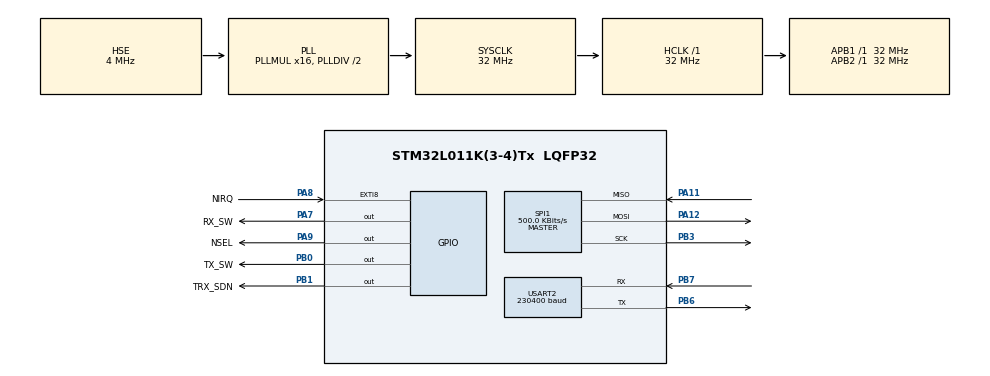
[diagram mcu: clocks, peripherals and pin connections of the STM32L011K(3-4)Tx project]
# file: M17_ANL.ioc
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Mcu.Family=STM32L0
Mcu.Name=STM32L011K(3-4)Tx
Mcu.Package=LQFP32
NVIC.EXTI4_15_IRQn=true\:0\:0\:false\:false\:true\:true
NVIC.TIM2_IRQn=true\:0\:0\:false\:false\:true\:true
NVIC.USART2_IRQn=true\:0\:0\:false\:false\:true\:true
PA0-CK_IN.Mode=HSE-External-Clock-Source-for-TinyNemo
PA0-CK_IN.Signal=RCC_CK_IN
PA11.GPIO_PuPd=GPIO_PULLUP
PA11.Mode=Full_Duplex_Master
PA11.Signal=SPI1_MISO
PA12.GPIO_PuPd=GPIO_PULLUP
PA12.Mode=Full_Duplex_Master
PA12.Signal=SPI1_MOSI
PA7.GPIO_Label=RX_SW
PA7.GPIO_Speed=GPIO_SPEED_FREQ_MEDIUM
PA7.PinState=GPIO_PIN_SET
PA7.Signal=GPIO_Output
PA8.GPIO_Label=NIRQ
PA8.GPIO_ModeDefaultEXTI=GPIO_MODE_IT_FALLING
PA8.GPIO_PuPd=GPIO_PULLUP
PA8.Signal=GPXTI8
PA9.GPIO_Label=NSEL
PA9.GPIO_Speed=GPIO_SPEED_FREQ_MEDIUM
PA9.PinState=GPIO_PIN_SET
PA9.Signal=GPIO_Output
PB0.GPIO_Label=TX_SW
PB0.GPIO_Speed=GPIO_SPEED_FREQ_MEDIUM
PB0.Signal=GPIO_Output
PB1.GPIO_Label=TRX_SDN
PB1.GPIO_Speed=GPIO_SPEED_FREQ_MEDIUM
PB1.PinState=GPIO_PIN_SET
PB1.Signal=GPIO_Output
PB3.GPIO_PuPd=GPIO_PULLDOWN
PB3.Mode=Full_Duplex_Master
PB3.Signal=SPI1_SCK
PB6.Mode=Asynchronous
PB6.Signal=USART2_TX
PB7.Mode=Asynchronous
PB7.Signal=USART2_RX
PC14-OSC32_IN.Mode=LSE-External-Clock-Source
PC14-OSC32_IN.Signal=RCC_OSC32_IN
ProjectManager.HeapSize=0x200
ProjectManager.StackSize=0x400
ProjectManager.TargetToolchain=SW4STM32
RCC.AHBFreq_Value=32000000
RCC.APB1Freq_Value=32000000
RCC.APB1TimFreq_Value=32000000
RCC.APB2Freq_Value=32000000
RCC.APB2TimFreq_Value=32000000
RCC.HCLKFreq_Value=32000000
RCC.HSE_VALUE=4000000
RCC.HSI16_VALUE=16000000
RCC.HSI_VALUE=16000000
RCC.LSE_VALUE=32768
RCC.MSI_VALUE=2097000
RCC.PLLMUL=RCC_PLLMUL_16
RCC.PLLSourceVirtual=RCC_PLLSOURCE_HSE
RCC.SYSCLKFreq_VALUE=32000000
RCC.SYSCLKSource=RCC_SYSCLKSOURCE_PLLCLK
RCC.VCOOutputFreq_Value=64000000
SPI1.BaudRatePrescaler=SPI_BAUDRATEPRESCALER_64
SPI1.CalculateBaudRate=500.0 KBits/s
SPI1.Direction=SPI_DIRECTION_2LINES
SPI1.Mode=SPI_MODE_MASTER
SPI1.VirtualType=VM_MASTER
TIM2.Period=99
TIM2.Prescaler=31999
TIM2.TIM_MasterOutputTrigger=TIM_TRGO_UPDATE
USART2.BaudRate=230400
USART2.VirtualMode-Asynchronous=VM_ASYNC
VP_TIM2_VS_ClockSourceINT.Mode=Internal
board=custom

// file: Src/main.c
/**
  ******************************************************************************
  * @file           : main.c
  * @brief          : Main program body
  ******************************************************************************
  ** This notice applies to any and all portions of this file
  * that are not between comment pairs USER CODE BEGIN and
  * USER CODE END. Other portions of this file, whether
  * inserted by the user or by software development tools
  * are owned by their respective copyright owners.
  *
  * COPYRIGHT(c) 2019 STMicroelectronics
  *
  * Redistribution and use in source and binary forms, with or without modification,
  * are permitted provided that the following conditions are met:
  *   1. Redistributions of source code must retain the above copyright notice,
  *      this list of conditions and the following disclaimer.
  *   2. Redistributions in binary form must reproduce the above copyright notice,
  *      this list of conditions and the following disclaimer in the documentation
  *      and/or other materials provided with the distribution.
  *   3. Neither the name of STMicroelectronics nor the names of its contributors
  *      may be used to endorse or promote products derived from this software
  *      without specific prior written permission.
  *
  * THIS SOFTWARE IS PROVIDED BY THE COPYRIGHT HOLDERS AND CONTRIBUTORS "AS IS"
  * AND ANY EXPRESS OR IMPLIED WARRANTIES, INCLUDING, BUT NOT LIMITED TO, THE
  * IMPLIED WARRANTIES OF MERCHANTABILITY AND FITNESS FOR A PARTICULAR PURPOSE ARE
  * DISCLAIMED. IN NO EVENT SHALL THE COPYRIGHT HOLDER OR CONTRIBUTORS BE LIABLE
  * FOR ANY DIRECT, INDIRECT, INCIDENTAL, SPECIAL, EXEMPLARY, OR CONSEQUENTIAL
  * DAMAGES (INCLUDING, BUT NOT LIMITED TO, PROCUREMENT OF SUBSTITUTE GOODS OR
  * SERVICES; LOSS OF USE, DATA, OR PROFITS; OR BUSINESS INTERRUPTION) HOWEVER
  * CAUSED AND ON ANY THEORY OF LIABILITY, WHETHER IN CONTRACT, STRICT LIABILITY,
  * OR TORT (INCLUDING NEGLIGENCE OR OTHERWISE) ARISING IN ANY WAY OUT OF THE USE
  * OF THIS SOFTWARE, EVEN IF ADVISED OF THE POSSIBILITY OF SUCH DAMAGE.
  *
  ******************************************************************************
  */
#include "main.h"
#include "stm32l0xx_hal.h"

/* USER CODE BEGIN Includes */
#include "radio_config.h"

#define	FRAMESIZE		160*2					//20+20=40ms frame
#define	RAW_BYTES		8*2
#define	CRC_LEN			2
#define	ENC_LEN			(RAW_BYTES)*2
#define	PLOAD_LEN		97
/* USER CODE END Includes */

SPI_HandleTypeDef hspi1;

TIM_HandleTypeDef htim2;

UART_HandleTypeDef huart2;

/* USER CODE BEGIN PV */
/* Private variables ---------------------------------------------------------*/
//UART RELATED
volatile uint8_t    rcvd[22];           //receiving buffer
volatile uint8_t    rcv_cnt=0;          //received bytes counter
volatile uint8_t    *extr_val;          //for extracted value
volatile uint8_t    extr_val_len=0;     //number of digits
volatile uint32_t   val=0;              //value
volatile uint8_t    first_tim_int=1;    //first timer interrupt? for uart rcv timeout

volatile uint8_t    tx_pwr=0;
volatile uint32_t   trx_freq=0;

//Si 446x RELATED
static const uint8_t config[] = RADIO_CONFIGURATION_DATA_ARRAY;
volatile uint8_t ints[8];					//interrupts

//RADIO STATE
volatile uint8_t r_initd=0;					//initialized?

//RCV FIELDS - EXTRACTED FROM RECEIVED DATA
volatile uint8_t rcv_buff[PLOAD_LEN];
volatile uint8_t rcv_voice[RAW_BYTES];
/* USER CODE END PV */

void SystemClock_Config(void);
static void MX_GPIO_Init(void);
static void MX_USART2_UART_Init(void);
static void MX_SPI1_Init(void);
static void MX_TIM2_Init(void);

/* USER CODE BEGIN PFP */
/* Private function prototypes -----------------------------------------------*/

/* USER CODE END PFP */

/* USER CODE BEGIN 0 */
//------------------------------SPI - Si4463------------------------------
/*void HAL_SPI_TxCpltCallback(SPI_HandleTypeDef *hspi)
{
	HAL_GPIO_WritePin(SPI2_CS_GPIO_Port, SPI2_CS_Pin, 1);
}*/

/*void HAL_SPI_RxCpltCallback(SPI_HandleTypeDef *hspi)
{
	//HAL_GPIO_WritePin(SPI2_CS_GPIO_Port, SPI2_CS_Pin, 1);
}*/

void SPI_WaitForCTS(void)
{
	uint8_t cts[1]={0x00};
	const uint8_t dta[1]={0x44};

	do
	{
		HAL_GPIO_WritePin(NSEL_GPIO_Port, NSEL_Pin, 0);
		HAL_SPI_Transmit(&hspi1, dta, 1, 100);
		HAL_SPI_Receive(&hspi1, cts, 1, 100);
		//if(cts[0]!=0xFF)
			HAL_GPIO_WritePin(NSEL_GPIO_Port, NSEL_Pin, 1);
	}while(cts[0]!=0xFF);
}

void SPI_Send(uint8_t *data, uint8_t len)
{
	SPI_WaitForCTS();
	HAL_GPIO_WritePin(NSEL_GPIO_Port, NSEL_Pin, 0);
	HAL_SPI_Transmit(&hspi1, data, len, 100);
	HAL_GPIO_WritePin(NSEL_GPIO_Port, NSEL_Pin, 1);
}

void SPI_GetResponse(uint8_t len, uint8_t *data)
{
	uint8_t cts[1]={0x00};
	uint8_t dta[1]={0x44};

	while(cts[0]!=0xFF)
	{
		HAL_GPIO_WritePin(NSEL_GPIO_Port, NSEL_Pin, 0);
		HAL_SPI_Transmit(&hspi1, dta, 1, 100);
		HAL_SPI_Receive(&hspi1, cts, 1, 1);

		if(cts[0]!=0xFF)
			HAL_GPIO_WritePin(NSEL_GPIO_Port, NSEL_Pin, 1);
	}

	HAL_SPI_Receive(&hspi1, data, len, 100);

	HAL_GPIO_WritePin(NSEL_GPIO_Port, NSEL_Pin, 1);
}

void SPI_ReadRxDataBuff(uint8_t len, uint8_t *data)
{
	uint8_t cmd[1]={0x77};

	HAL_GPIO_WritePin(NSEL_GPIO_Port, NSEL_Pin, 0);
	HAL_SPI_Transmit(&hspi1, cmd, 1, 100);
	HAL_SPI_Receive(&hspi1, data, len, 100);
	HAL_GPIO_WritePin(NSEL_GPIO_Port, NSEL_Pin, 1);
}

//------------------------------Si446x FUNCS------------------------------
void Si_Reset(void)
{
	HAL_GPIO_WritePin(TRX_SDN_GPIO_Port, TRX_SDN_Pin, 1);
	HAL_Delay(1);
	HAL_GPIO_WritePin(TRX_SDN_GPIO_Port, TRX_SDN_Pin, 0);
	HAL_Delay(5);
}

static void Si_SetProp(uint8_t* vals, uint8_t group, uint8_t number, uint8_t len)
{
	uint8_t data[16]={0x11,	group, len, number};

	memcpy(data + 4, vals, len);

	SPI_WaitForCTS();
	SPI_Send(data, len + 4);
}

static void Si_StartupConfig(void)
{
	uint8_t buff[17];

	for(uint16_t i=0; i<sizeof(config); i++)
	{
		memcpy(buff, &config[i], sizeof(buff));
		SPI_WaitForCTS();
		SPI_Send(&buff[1], buff[0]);
		i += buff[0];
	}
}

static void Si_Interrupts(void* buff)
{
	uint8_t data = 0x20;

	SPI_Send(&data, 1);
	if(buff!=NULL)
		SPI_GetResponse(8, buff);
}

/*static void Si_InterruptsNoCTS(void* buff)
{
	uint8_t v = 0x20;

	HAL_GPIO_WritePin(SPI2_CS_GPIO_Port, SPI2_CS_Pin, 0);
	HAL_SPI_Transmit(&hspi2, &v, 1, 100);
	HAL_SPI_Receive(&hspi2, buff, 8, 100);
	HAL_GPIO_WritePin(SPI2_CS_GPIO_Port, SPI2_CS_Pin, 1);
}*/

static void Si_Interrupts2(void* buff, uint8_t clearPH, uint8_t clearMODEM, uint8_t clearCHIP)
{
	uint8_t data[] = {
		0x20,
		clearPH,
		clearMODEM,
		clearCHIP
	};

	SPI_Send(data, 4);
	if(buff!=NULL)
		SPI_GetResponse(8, buff);
}

static uint8_t Si_GetState(void)
{
	uint8_t state[2]={0, 0};
	uint8_t get_state_cmd=0x33;

	SPI_WaitForCTS();
	SPI_Send(&get_state_cmd, 1);
	SPI_GetResponse(2, state);

	return state[0]&0x0F;
}

static void Si_SetState(uint8_t newState)
{
	uint8_t data[2]={0x34, newState};

	SPI_Send(data, 2);
}

void Si_Sleep(void)
{
	uint8_t state=Si_GetState();

	if(state==7 || state==5)
		return;

	Si_SetState(1);
}

void Si_SetTxPower(uint8_t pwr)
{
	/*uint8_t msg[5]={0x11, 0x22, 0x01, 0x01, pwr};

	SPI_Send(&msg, 5);*/
	Si_SetProp(&pwr, 0x22, 0x01, 1);
}

void Si_ClearFIFO(uint8_t fifos)
{
	uint8_t msg[3]={0x15, fifos};

	SPI_Send(&msg, 2);
}

void Si_WriteTxDataBuff(uint8_t *data, uint8_t len)
{
	uint8_t cmd = 0x66;

	HAL_GPIO_WritePin(NSEL_GPIO_Port, NSEL_Pin, 0);
	HAL_SPI_Transmit(&hspi1, &cmd, 1, 100);
	HAL_SPI_Transmit(&hspi1, data, len, 100);
	HAL_GPIO_WritePin(NSEL_GPIO_Port, NSEL_Pin, 1);
}

void Si_StartTx(uint8_t ch, uint8_t end_state, uint8_t tx_len)
{
	uint8_t msg[7]={0x31, ch, (uint8_t)end_state<<4, 0, tx_len, 0, 0};

	SPI_WaitForCTS();
	SPI_Send(&msg, 7);
}

void Si_StartRx(uint8_t ch, uint8_t len)
{
	//Si_SetState(3);		//RX state
	Si_ClearFIFO(3);	//clear both FIFOs
	//Si_Interrupts2(NULL, 0, 0, 0xFF);	//clear some interrupts

	uint8_t msg[8]={0x32, ch, 0, 0, len, 0x08, 0x08, 0x08};

	SPI_Send(msg, 8);
}

void Si_TxData(uint8_t *d, uint8_t len, uint8_t ch)
{
	Si_ClearFIFO(3);
	Si_Interrupts2(NULL, 0, 0, 0xFF);

	Si_WriteTxDataBuff(d, len);
	Si_StartTx(ch, 3, len);	//3 - READY state after TX complete
}

void Si_FreqSet(uint32_t freq)	//freq in Hz
{
	uint8_t inte=0x3C;	//default values
	uint64_t frac=0x00080000;

	freq=freq*(30.0/32.0);
	inte=freq/7500000-1;
	frac=(freq-(uint32_t)(inte+1)*7500000)/75;
	frac=(uint64_t)frac*(1<<19)/100000+(uint32_t)(1<<19);

	uint8_t vals[4]={inte, (frac>>16)&0xFF, (frac>>8)&0xFF, frac&0xFF};

	Si_SetProp(&vals, 0x40, 0x00, 4);
}

uint8_t Si_GetRSSI(void)
{
	uint8_t v=0x50;
	uint8_t r[4];

	HAL_GPIO_WritePin(NSEL_GPIO_Port, NSEL_Pin, 0);
	HAL_SPI_Transmit(&hspi1, &v, 1, 100);
	HAL_SPI_Receive(&hspi1, r, 4, 100);
	HAL_GPIO_WritePin(NSEL_GPIO_Port, NSEL_Pin, 1);

	return r[0];
}

void Si_GetInfo(uint8_t *resp)
{
	uint8_t cmd=0x01;

	SPI_Send(&cmd, 1);
	SPI_WaitForCTS();
	SPI_GetResponse(8, resp);
}

uint8_t checkTRX(void)
{
	uint8_t info[8];

	Si_GetInfo(info);

	if(info[1]==0x44 && info[2]==0x63)
		return 0;

	return 1;
}

//------------------------------RF SWITCH FUNCS------------------------------
static void RF_SetTX(void)
{
	HAL_GPIO_WritePin(RX_SW_GPIO_Port, RX_SW_Pin, 0);
	HAL_GPIO_WritePin(TX_SW_GPIO_Port, TX_SW_Pin, 1);
	//r_tx=1;
}

static void RF_SetRX(void)
{
	HAL_GPIO_WritePin(RX_SW_GPIO_Port, RX_SW_Pin, 1);
	HAL_GPIO_WritePin(TX_SW_GPIO_Port, TX_SW_Pin, 0);
	//r_tx=0;
}
//--------------------------INTERRUPTS----------------------
void HAL_GPIO_EXTI_Callback(uint16_t GPIO_Pin)
{
	//Si4463 TRX module interrupt
	if(GPIO_Pin==GPIO_PIN_8 && r_initd)
	{
		//Si nIRQ interrupt request
		Si_Interrupts(ints);	//check pending interrupt flags

		//PACKET_RX_PEND flag set?
		if(ints[2]&(1<<4))
		{
			//retrieve RX buff contents
			SPI_ReadRxDataBuff(PLOAD_LEN, rcv_buff);
			Si_ClearFIFO(3);

			//scanner mode
			HAL_UART_Transmit(&huart2, "AT+FRAME=", 9, 100);
			HAL_UART_Transmit(&huart2, rcv_buff, PLOAD_LEN, 100);
			HAL_UART_Transmit(&huart2, "\r\n", 2, 100);
		}

		//clear pending flags
		Si_Interrupts(NULL);
	}
}

void HAL_UART_RxCpltCallback(UART_HandleTypeDef *huart)
{
    /*if(strstr(rcvd, "AT+FREQ?") && strstr(strstr(rcvd, "AT+FREQ?"), "\r\n"))
    {
        uint8_t resp[22];
        sprintf(resp, "FREQ=%lu\r\n", trx_freq);
        HAL_UART_Transmit(&huart2, resp, strlen(resp), 100);

        memset(rcvd, 0, 22);
        rcv_cnt=0;
        HAL_UART_Receive_IT(&huart2, &rcvd[0], 1);
    }
    else if(strstr(rcvd, "AT+PWR?") && strstr(strstr(rcvd, "AT+PWR?"), "\r\n"))
    {
        uint8_t resp[22];
        sprintf(resp, "PWR=%u\r\n", tx_pwr);
        HAL_UART_Transmit(&huart2, resp, strlen(resp), 100);

        memset(rcvd, 0, 22);
        rcv_cnt=0;
        HAL_UART_Receive_IT(&huart2, &rcvd[0], 1);
    }
    else*/ if(strstr(rcvd, "AT+PWR=") && strstr(strstr(rcvd, "AT+PWR="), "\r\n"))
    {
        extr_val=strstr(rcvd, "AT+PWR=")+7;
        for(uint8_t i=0; i<12; i++)
        {
            if((extr_val[i]<'0' || extr_val[i]>'9') && (extr_val[i]!='\r' && extr_val[i]!='\n'))
            {
                extr_val_len=0;
                break;
            }
            if(extr_val[i]=='\r')
            {
                extr_val_len=i;
                break;
            }
        }

        if(extr_val_len!=0)
        {
            uint32_t mult=1;
            for(int8_t i=extr_val_len-1; i>=0; i--)
            {
                val+=(extr_val[i]-'0')*mult;
                mult*=10;
            }

            tx_pwr=val;

            /*uint8_t resp[22];
            sprintf(resp, "PWR=%u\r\n", val);*/
            HAL_UART_Transmit(&huart2, "OK\r\n", 4, 100);
        }
        else
        {
            HAL_UART_Transmit(&huart2, "ERROR\r\n", 7, 100);
        }
        val=0;
        memset(rcvd, 0, 22);
        rcv_cnt=0;
        HAL_UART_Receive_IT(&huart2, &rcvd[0], 1);
    }
    else if(strstr(rcvd, "AT+FREQ=") && strstr(strstr(rcvd, "AT+FREQ="), "\r\n"))
    {
        extr_val=strstr(rcvd, "AT+FREQ=")+8;
        for(uint8_t i=0; i<12; i++)
        {
            if((extr_val[i]<'0' || extr_val[i]>'9') && (extr_val[i]!='\r' && extr_val[i]!='\n'))
            {
                extr_val_len=0;
                break;
            }
            if(extr_val[i]=='\r')
            {
                extr_val_len=i;
                break;
            }
        }

        if(extr_val_len!=0)
        {
            uint32_t mult=1;
            for(int8_t i=extr_val_len-1; i>=0; i--)
            {
                val+=(extr_val[i]-'0')*mult;
                mult*=10;
            }

            trx_freq=val;
            //Si_FreqSet(trx_freq);

            /*uint8_t resp[22];
            sprintf(resp, "FREQ=%lu\r\n", val);*/
            HAL_UART_Transmit(&huart2, "OK\r\n", 4, 100);
        }
        else
        {
            HAL_UART_Transmit(&huart2, "ERROR\r\n", 7, 100);
        }

        val=0;
        memset(rcvd, 0, 22);
        rcv_cnt=0;
        HAL_UART_Receive_IT(&huart2, &rcvd[0], 1);
    }
    /*else if(strstr(rcvd, "AT+FRAME=") && strstr(strstr(rcvd, "AT+FRAME="), "\r\n"))
    {
    	*rcv_buff=strstr(rcvd, "AT+FRAME=")+9;

        //TODO: add code here

        HAL_UART_Transmit(&huart2, "OK\r\n", 4, 100);

        val=0;
        memset(rcvd, 0, 22);
        rcv_cnt=0;
        HAL_UART_Receive_IT(&huart2, &rcvd[0], 1);
    }*/
    else
    {
        rcv_cnt++;
        HAL_UART_Receive_IT(&huart2, &rcvd[rcv_cnt], 1);
        TIM2->CNT=0;
        HAL_TIM_Base_Start_IT(&htim2);
    }
}

void HAL_TIM_PeriodElapsedCallback(TIM_HandleTypeDef *htim)
{
    if(first_tim_int)
        first_tim_int=0;
    else
    {
        memset(rcvd, 0, 22);
        rcv_cnt=0;
        HAL_UART_AbortReceive_IT(&huart2);
        HAL_UART_Receive_IT(&huart2, &rcvd[0], 1);
        HAL_TIM_Base_Stop_IT(&htim2);
        TIM2->CNT=0;
    }
}
/* USER CODE END 0 */

int main(void)
{
  /* USER CODE BEGIN 1 */
  memset(rcvd, 0, 22);

  /* USER CODE END 1 */

  /* MCU Configuration----------------------------------------------------------*/

  /* Reset of all peripherals, Initializes the Flash interface and the Systick. */
  HAL_Init();

  /* Configure the system clock */
  SystemClock_Config();

  /* Initialize all configured peripherals */
  MX_GPIO_Init();
  MX_USART2_UART_Init();
  MX_SPI1_Init();
  MX_TIM2_Init();
  /* USER CODE BEGIN 2 */
  //HAL_GPIO_WritePin(NSEL_GPIO_Port, NSEL_Pin, 0);
  RF_SetRX();
  HAL_Delay(500);
  Si_Reset();
  if(checkTRX())	//fucked up comms with Si4463?
  {
	  HAL_UART_Transmit(&huart2, "M17_ANL INIT ERR\r\n", 17, 100);
	  while(1);
  }

  Si_StartupConfig();
  Si_Interrupts(NULL);
  Si_Sleep();

  Si_FreqSet(439575000);
  Si_StartRx(0, PLOAD_LEN);
  r_initd=1;	//we need this to avoid getting Si IRQ request right after power-up sequence

  HAL_UART_Transmit(&huart2, "M17_ANL INIT OK\r\n", 17, 100);
  HAL_UART_Receive_IT(&huart2, &rcvd[0], 1);
  /* USER CODE END 2 */

  /* Infinite loop */
  /* USER CODE BEGIN WHILE */
  while (1)
  {
	  ;
  /* USER CODE END WHILE */

  }

}

void SystemClock_Config(void)
{

  RCC_OscInitTypeDef RCC_OscInitStruct;
  RCC_ClkInitTypeDef RCC_ClkInitStruct;
  RCC_PeriphCLKInitTypeDef PeriphClkInit;

    /**Configure the main internal regulator output voltage
    */
  __HAL_PWR_VOLTAGESCALING_CONFIG(PWR_REGULATOR_VOLTAGE_SCALE1);

    /**Initializes the CPU, AHB and APB busses clocks
    */
  RCC_OscInitStruct.OscillatorType = RCC_OSCILLATORTYPE_HSE;
  RCC_OscInitStruct.HSEState = RCC_HSE_BYPASS;
  RCC_OscInitStruct.PLL.PLLState = RCC_PLL_ON;
  RCC_OscInitStruct.PLL.PLLSource = RCC_PLLSOURCE_HSE;
  RCC_OscInitStruct.PLL.PLLMUL = RCC_PLLMUL_16;
  RCC_OscInitStruct.PLL.PLLDIV = RCC_PLLDIV_2;
  if (HAL_RCC_OscConfig(&RCC_OscInitStruct) != HAL_OK)
  {
    _Error_Handler(__FILE__, __LINE__);
  }

    /**Initializes the CPU, AHB and APB busses clocks
    */
  RCC_ClkInitStruct.ClockType = RCC_CLOCKTYPE_HCLK|RCC_CLOCKTYPE_SYSCLK
                              |RCC_CLOCKTYPE_PCLK1|RCC_CLOCKTYPE_PCLK2;
  RCC_ClkInitStruct.SYSCLKSource = RCC_SYSCLKSOURCE_PLLCLK;
  RCC_ClkInitStruct.AHBCLKDivider = RCC_SYSCLK_DIV1;
  RCC_ClkInitStruct.APB1CLKDivider = RCC_HCLK_DIV1;
  RCC_ClkInitStruct.APB2CLKDivider = RCC_HCLK_DIV1;

  if (HAL_RCC_ClockConfig(&RCC_ClkInitStruct, FLASH_LATENCY_1) != HAL_OK)
  {
    _Error_Handler(__FILE__, __LINE__);
  }

  PeriphClkInit.PeriphClockSelection = RCC_PERIPHCLK_USART2;
  PeriphClkInit.Usart2ClockSelection = RCC_USART2CLKSOURCE_PCLK1;
  if (HAL_RCCEx_PeriphCLKConfig(&PeriphClkInit) != HAL_OK)
  {
    _Error_Handler(__FILE__, __LINE__);
  }

    /**Configure the Systick interrupt time
    */
  HAL_SYSTICK_Config(HAL_RCC_GetHCLKFreq()/1000);

    /**Configure the Systick
    */
  HAL_SYSTICK_CLKSourceConfig(SYSTICK_CLKSOURCE_HCLK);

  /* SysTick_IRQn interrupt configuration */
  HAL_NVIC_SetPriority(SysTick_IRQn, 0, 0);
}

/* SPI1 init function */
static void MX_SPI1_Init(void)
{

  /* SPI1 parameter configuration*/
  hspi1.Instance = SPI1;
  hspi1.Init.Mode = SPI_MODE_MASTER;
  hspi1.Init.Direction = SPI_DIRECTION_2LINES;
  hspi1.Init.DataSize = SPI_DATASIZE_8BIT;
  hspi1.Init.CLKPolarity = SPI_POLARITY_LOW;
  hspi1.Init.CLKPhase = SPI_PHASE_1EDGE;
  hspi1.Init.NSS = SPI_NSS_SOFT;
  hspi1.Init.BaudRatePrescaler = SPI_BAUDRATEPRESCALER_64;
  hspi1.Init.FirstBit = SPI_FIRSTBIT_MSB;
  hspi1.Init.TIMode = SPI_TIMODE_DISABLE;
  hspi1.Init.CRCCalculation = SPI_CRCCALCULATION_DISABLE;
  hspi1.Init.CRCPolynomial = 7;
  if (HAL_SPI_Init(&hspi1) != HAL_OK)
  {
    _Error_Handler(__FILE__, __LINE__);
  }

}

/* TIM2 init function */
static void MX_TIM2_Init(void)
{

  TIM_ClockConfigTypeDef sClockSourceConfig;
  TIM_MasterConfigTypeDef sMasterConfig;

  htim2.Instance = TIM2;
  htim2.Init.Prescaler = 31999;
  htim2.Init.CounterMode = TIM_COUNTERMODE_UP;
  htim2.Init.Period = 99;
  htim2.Init.ClockDivision = TIM_CLOCKDIVISION_DIV1;
  if (HAL_TIM_Base_Init(&htim2) != HAL_OK)
  {
    _Error_Handler(__FILE__, __LINE__);
  }

  sClockSourceConfig.ClockSource = TIM_CLOCKSOURCE_INTERNAL;
  if (HAL_TIM_ConfigClockSource(&htim2, &sClockSourceConfig) != HAL_OK)
  {
    _Error_Handler(__FILE__, __LINE__);
  }

  sMasterConfig.MasterOutputTrigger = TIM_TRGO_UPDATE;
  sMasterConfig.MasterSlaveMode = TIM_MASTERSLAVEMODE_DISABLE;
  if (HAL_TIMEx_MasterConfigSynchronization(&htim2, &sMasterConfig) != HAL_OK)
  {
    _Error_Handler(__FILE__, __LINE__);
  }

}

/* USART2 init function */
static void MX_USART2_UART_Init(void)
{

  huart2.Instance = USART2;
  huart2.Init.BaudRate = 230400;
  huart2.Init.WordLength = UART_WORDLENGTH_8B;
  huart2.Init.StopBits = UART_STOPBITS_1;
  huart2.Init.Parity = UART_PARITY_NONE;
  huart2.Init.Mode = UART_MODE_TX_RX;
  huart2.Init.HwFlowCtl = UART_HWCONTROL_NONE;
  huart2.Init.OverSampling = UART_OVERSAMPLING_16;
  huart2.Init.OneBitSampling = UART_ONE_BIT_SAMPLE_DISABLE;
  huart2.AdvancedInit.AdvFeatureInit = UART_ADVFEATURE_NO_INIT;
  if (HAL_UART_Init(&huart2) != HAL_OK)
  {
    _Error_Handler(__FILE__, __LINE__);
  }

}

/** Configure pins as
        * Analog
        * Input
        * Output
        * EVENT_OUT
        * EXTI
*/
static void MX_GPIO_Init(void)
{

  GPIO_InitTypeDef GPIO_InitStruct;

  /* GPIO Ports Clock Enable */
  __HAL_RCC_GPIOC_CLK_ENABLE();
  __HAL_RCC_GPIOA_CLK_ENABLE();
  __HAL_RCC_GPIOB_CLK_ENABLE();

  /*Configure GPIO pin Output Level */
  HAL_GPIO_WritePin(GPIOA, RX_SW_Pin|NSEL_Pin, GPIO_PIN_SET);

  /*Configure GPIO pin Output Level */
  HAL_GPIO_WritePin(TX_SW_GPIO_Port, TX_SW_Pin, GPIO_PIN_RESET);

  /*Configure GPIO pin Output Level */
  HAL_GPIO_WritePin(TRX_SDN_GPIO_Port, TRX_SDN_Pin, GPIO_PIN_SET);

  /*Configure GPIO pins : RX_SW_Pin NSEL_Pin */
  GPIO_InitStruct.Pin = RX_SW_Pin|NSEL_Pin;
  GPIO_InitStruct.Mode = GPIO_MODE_OUTPUT_PP;
  GPIO_InitStruct.Pull = GPIO_NOPULL;
  GPIO_InitStruct.Speed = GPIO_SPEED_FREQ_MEDIUM;
  HAL_GPIO_Init(GPIOA, &GPIO_InitStruct);

  /*Configure GPIO pins : TX_SW_Pin TRX_SDN_Pin */
  GPIO_InitStruct.Pin = TX_SW_Pin|TRX_SDN_Pin;
  GPIO_InitStruct.Mode = GPIO_MODE_OUTPUT_PP;
  GPIO_InitStruct.Pull = GPIO_NOPULL;
  GPIO_InitStruct.Speed = GPIO_SPEED_FREQ_MEDIUM;
  HAL_GPIO_Init(GPIOB, &GPIO_InitStruct);

  /*Configure GPIO pin : NIRQ_Pin */
  GPIO_InitStruct.Pin = NIRQ_Pin;
  GPIO_InitStruct.Mode = GPIO_MODE_IT_FALLING;
  GPIO_InitStruct.Pull = GPIO_PULLUP;
  HAL_GPIO_Init(NIRQ_GPIO_Port, &GPIO_InitStruct);

  /* EXTI interrupt init*/
  HAL_NVIC_SetPriority(EXTI4_15_IRQn, 0, 0);
  HAL_NVIC_EnableIRQ(EXTI4_15_IRQn);

}

void _Error_Handler(char *file, int line)
{
  while(1)
  {
  }
}

/************************ (C) COPYRIGHT STMicroelectronics *****END OF FILE****/
